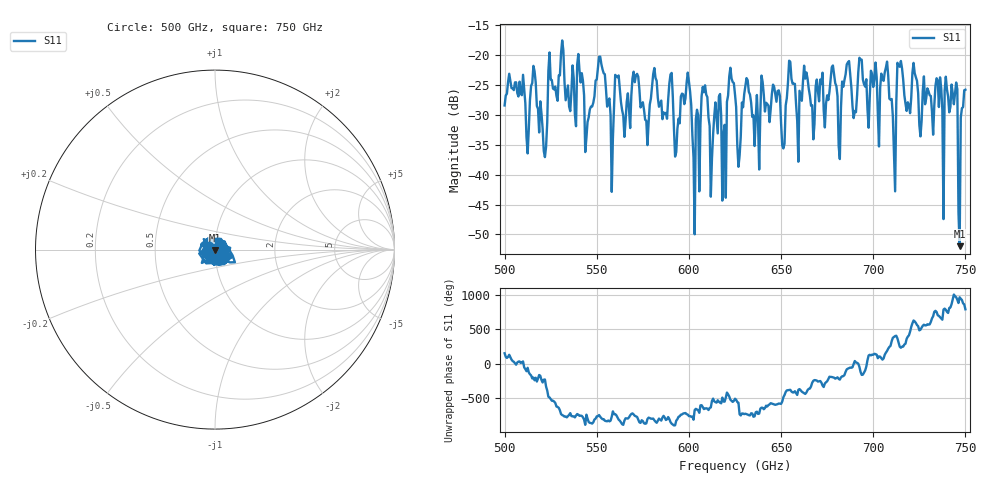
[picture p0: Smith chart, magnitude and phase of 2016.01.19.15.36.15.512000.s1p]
!Created with skrf (http://scikit-rf.org).
# GHz S RI R 50.0
!freq ReS11 ImS11
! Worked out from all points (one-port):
!   401 points, 500 GHz to 750 GHz, reference 50 ohm
!   lowest |S11| = -52.0 dB at 746.9 GHz (marker M1), VSWR 1.01, Z = 49.9 - j0.232 ohm
!   |S11| at or under -10 dB: start of sweep to end of sweep
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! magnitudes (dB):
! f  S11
! 500 GHz  -28.5
! 512.5 GHz  -36.5
! 515.6 GHz  -21.9
! 521.9 GHz  -37.1
! 525 GHz  -24.2
! 531.2 GHz  -17.6
! 545 GHz  -31.2
! 551.9 GHz  -20.3
! 557.5 GHz  -30.1
! 562.5 GHz  -25.6
! 590 GHz  -23.3
! 593.8 GHz  -32.3
! 599.4 GHz  -23.0
! 604.4 GHz  -29.2
! 608.8 GHz  -25.1
! 618.8 GHz  -33.3
! 621.9 GHz  -23.6
! 625 GHz  -26.6
! 651.2 GHz  -35.6
! 656.2 GHz  -24.8
! 678.1 GHz  -21.8
! 681.2 GHz  -35.3
! 687.5 GHz  -23.3
! 714.4 GHz  -22.0
! 718.8 GHz  -27.9
! 744.4 GHz  -26.5
! 746.9 GHz  -52.0
! 750 GHz  -25.8
